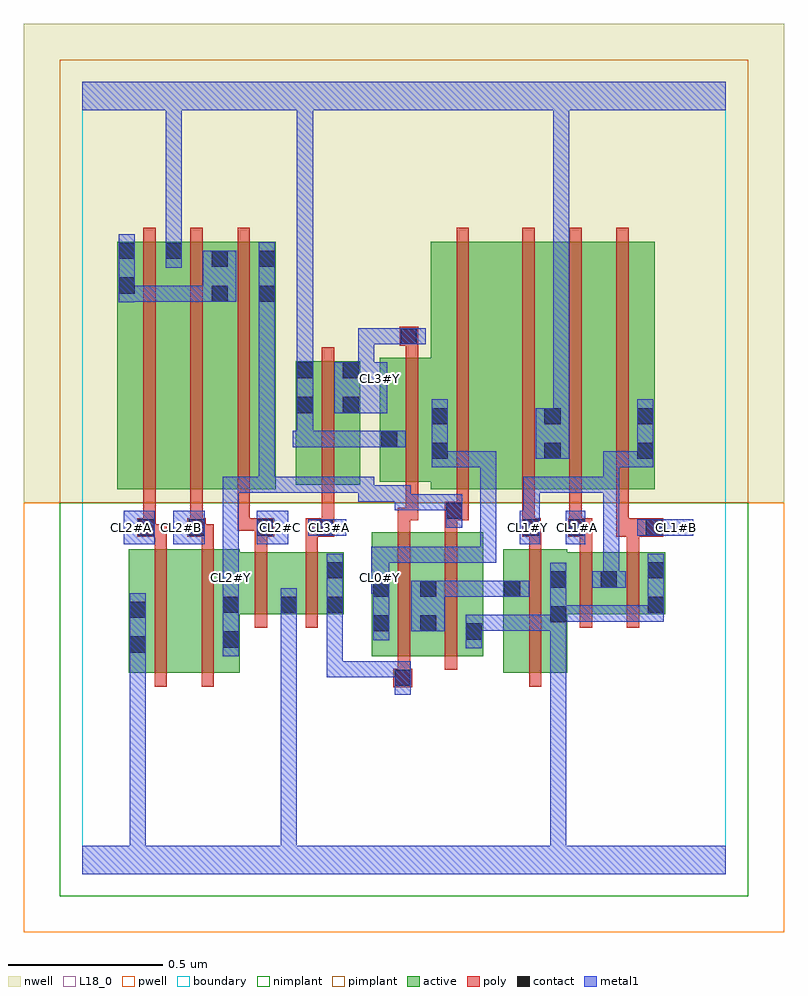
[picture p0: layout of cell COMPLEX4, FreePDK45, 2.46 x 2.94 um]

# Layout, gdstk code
import gdstk
lib = gdstk.Library(unit=1e-6, precision=1e-09)
def R(c, l, rs):  # rectangles x0, y0, x1, y1
    for r in rs: c.add(gdstk.rectangle(r[:2], r[2:], *l))
def A(c, l, x, y, w, h, nx, ny, dx, dy):  # array of equal rectangles
    R(c, l, [(x+i*dx, y+j*dy, x+i*dx+w, y+j*dy+h) for i in range(nx) for j in range(ny)])
active = (1, 0)
pwell = (2, 0)
nwell = (3, 0)
nimplant = (4, 0)
pimplant = (5, 0)
poly = (9, 0)
contact = (10, 0)
metal1 = (11, 0)
L18_0 = (18, 0)
boundary = (235, 0)

complex4 = lib.new_cell('COMPLEX4')
R(complex4, active, [(0.15,0.65,0.33,1.05), (0.33,0.65,0.51,1.05), (0.45,0.65,0.51,0.9), (1.36,0.65,1.568,1.05), (1.508,0.65,1.568,0.982), (0.936,0.704,1.148,1.104), (1.088,0.704,1.296,1.104), (0.15,0.712,0.21,1.05), (1.236,0.754,1.296,1.104), (0.936,0.756,0.996,1.104), (1.088,0.756,1.148,0.952), (1.36,0.756,1.42,1.05), (0.45,0.84,0.698,1.04), (0.638,0.84,0.698,0.9), (0.638,0.84,0.846,1.04), (0.786,0.84,0.846,1.04), (1.508,0.84,1.732,1.04), (1.672,0.84,1.884,1.04), (1.824,0.84,1.884,1.04), (1.672,0.922,1.732,0.982), (0.114,1.244,0.174,2.044), (0.114,1.244,0.326,2.044), (0.266,1.244,0.474,2.044), (0.414,1.244,0.626,2.044), (0.566,1.244,0.626,2.044), (1.126,1.244,1.366,2.044), (1.366,1.244,1.55,2.044), (1.49,1.244,1.55,2.044), (1.49,1.244,1.67,2.044), (1.67,1.244,1.85,2.044), (1.79,1.244,1.85,2.044), (0.69,1.258,0.898,1.658), (0.69,1.258,0.75,1.658), (0.838,1.258,0.898,1.658), (0.962,1.268,1.186,1.668), (0.962,1.268,1.022,1.644), (1.126,1.268,1.186,1.71), (0.266,1.686,0.326,2.044), (0.414,1.686,0.474,2.044)])
R(complex4, pwell, [(-0.188,-0.188,2.268,1.2)])
R(complex4, nwell, [(-0.188,1.2,2.268,2.748)])
R(complex4, nimplant, [(-0.072,-0.072,2.152,1.2)])
R(complex4, pimplant, [(-0.072,1.2,2.152,2.632)])
A(complex4, poly, 0.198, 1.11, 0.04, 0.13, 3, 1, 0.152, 0)
A(complex4, poly, 1.422, 1.11, 0.04, 0.13, 3, 1, 0.152, 0)
A(complex4, poly, 0.198, 1.2, 0.04, 0.888, 3, 1, 0.152, 0)
A(complex4, poly, 1.422, 1.2, 0.04, 0.888, 3, 1, 0.152, 0)
R(complex4, poly, [(1.006,0.604,1.066,0.664), (0.234,0.606,0.274,1.094), (0.386,0.606,0.426,1.094), (1.444,0.606,1.484,1.094), (1.02,0.624,1.06,0.7), (1.02,0.66,1.06,1.148), (1.172,0.66,1.212,1.148), (0.558,0.796,0.598,1.084), (0.722,0.796,0.762,1.084), (1.608,0.796,1.648,1.084), (1.76,0.796,1.8,1.084), (0.558,1.044,0.598,1.13), (0.722,1.044,0.762,1.13), (1.608,1.044,1.648,1.13), (1.76,1.044,1.8,1.13), (0.234,1.054,0.274,1.13), (0.386,1.054,0.426,1.13), (1.444,1.054,1.484,1.13), (0.178,1.09,0.238,1.15), (0.198,1.09,0.238,1.13), (0.198,1.09,0.274,1.13), (0.34,1.09,0.4,1.15), (0.36,1.09,0.4,1.13), (0.36,1.09,0.426,1.13), (0.558,1.09,0.62,1.15), (0.722,1.09,0.814,1.15), (1.422,1.09,1.482,1.15), (1.442,1.09,1.482,1.13), (1.442,1.09,1.484,1.13), (1.57,1.09,1.648,1.15), (1.726,1.09,1.878,1.15), (1.76,1.09,1.8,1.13), (1.76,1.09,1.8,1.13), (1.02,1.108,1.06,1.184), (1.172,1.108,1.212,1.184), (0.502,1.11,0.598,1.15), (0.558,1.11,0.598,1.15), (0.774,1.11,0.814,1.15), (0.774,1.11,0.814,1.15), (0.774,1.11,0.814,1.254), (1.574,1.11,1.614,1.15), (1.574,1.11,1.614,1.15), (1.02,1.144,1.06,1.184), (1.02,1.144,1.06,1.184), (1.02,1.144,1.086,1.184), (1.046,1.144,1.086,1.264), (1.172,1.144,1.212,1.184), (1.172,1.144,1.212,1.184), (1.172,1.144,1.25,1.204), (1.21,1.164,1.25,1.24), (1.21,1.2,1.25,2.088), (0.774,1.214,0.814,1.702), (1.046,1.224,1.086,1.712), (1.046,1.672,1.086,1.748), (1.026,1.708,1.086,1.768)])
R(complex4, contact, [(1.01,0.608,1.062,0.66), (0.154,0.716,0.206,0.768), (0.454,0.732,0.506,0.784), (1.24,0.758,1.292,0.81), (0.94,0.784,0.992,0.836), (1.092,0.784,1.144,0.836), (1.512,0.814,1.564,0.866), (0.154,0.828,0.206,0.88), (0.454,0.844,0.506,0.896), (0.642,0.844,0.694,0.896), (0.79,0.844,0.842,0.896), (1.828,0.844,1.88,0.896), (0.94,0.896,0.992,0.948), (1.092,0.896,1.144,0.948), (1.364,0.896,1.416,0.948), (1.512,0.926,1.564,0.978), (1.676,0.926,1.728,0.978), (0.79,0.956,0.842,1.008), (1.828,0.956,1.88,1.008), (0.182,1.094,0.234,1.146), (0.344,1.094,0.396,1.146), (0.564,1.094,0.616,1.146), (0.758,1.094,0.81,1.146), (1.426,1.094,1.478,1.146), (1.574,1.094,1.626,1.146), (1.822,1.094,1.874,1.146), (1.176,1.148,1.228,1.2), (1.13,1.342,1.182,1.394), (1.494,1.342,1.546,1.394), (1.794,1.342,1.846,1.394), (0.966,1.38,1.018,1.432), (1.13,1.454,1.182,1.506), (1.494,1.454,1.546,1.506), (1.794,1.454,1.846,1.506), (0.694,1.49,0.746,1.542), (0.842,1.49,0.894,1.542), (0.694,1.602,0.746,1.654), (0.842,1.602,0.894,1.654), (1.03,1.712,1.082,1.764), (0.418,1.85,0.47,1.902), (0.57,1.85,0.622,1.902), (0.118,1.876,0.17,1.928), (0.418,1.962,0.47,2.014), (0.57,1.962,0.622,2.014), (0.118,1.988,0.17,2.04), (0.27,1.988,0.322,2.04)])
R(complex4, metal1, [(0,0,2.08,0.092), (0.154,0.04,0.206,0.092), (0.154,0.04,0.206,0.092), (0.154,0.04,0.206,0.092), (0.154,0.04,0.206,0.092), (0.154,0.04,0.206,0.74), (0.642,0.04,0.694,0.092), (0.642,0.04,0.694,0.092), (0.642,0.04,0.694,0.092), (0.642,0.04,0.694,0.092), (0.642,0.04,0.694,0.092), (0.642,0.04,0.694,0.092), (0.642,0.04,0.694,0.092), (0.642,0.04,0.694,0.092), (0.642,0.04,0.694,0.092), (0.642,0.04,0.694,0.092), (0.642,0.04,0.694,0.092), (0.642,0.04,0.694,0.092), (0.642,0.04,0.694,0.092), (0.642,0.04,0.694,0.092), (0.642,0.04,0.694,0.092), (0.642,0.04,0.694,0.092), (0.642,0.04,0.694,0.868), (1.512,0.04,1.564,0.092), (1.512,0.04,1.564,0.092), (1.512,0.04,1.564,0.092), (1.512,0.04,1.564,0.092), (1.512,0.04,1.564,0.838), (1.01,0.58,1.062,0.688), (0.79,0.636,0.842,0.688), (0.79,0.636,1.006,0.688), (0.79,0.636,0.842,0.868), (0.954,0.636,1.006,0.688), (0.954,0.636,1.062,0.688), (0.154,0.688,0.206,0.74), (0.154,0.688,0.206,0.74), (0.154,0.688,0.206,0.74), (0.154,0.688,0.206,0.74), (0.154,0.688,0.206,0.74), (0.154,0.688,0.206,0.74), (0.154,0.688,0.206,0.74), (0.154,0.688,0.206,0.74), (0.154,0.688,0.206,0.908), (0.454,0.704,0.506,0.924), (1.24,0.73,1.292,0.838), (0.94,0.756,0.992,0.976), (1.064,0.784,1.172,0.948), (1.24,0.786,1.356,0.838), (1.304,0.786,1.356,0.838), (1.304,0.786,1.464,0.838), (1.412,0.786,1.464,0.838), (1.412,0.786,1.564,0.838), (1.512,0.786,1.564,0.838), (1.512,0.786,1.564,0.838), (1.512,0.786,1.564,0.838), (1.512,0.786,1.564,0.838), (1.512,0.786,1.564,0.838), (1.512,0.786,1.564,0.838), (1.512,0.786,1.564,0.838), (1.512,0.786,1.564,0.838), (1.512,0.786,1.564,1.006), (0.642,0.816,0.694,0.924), (0.79,0.816,0.842,0.868), (0.79,0.816,0.842,0.868), (0.79,0.816,0.842,0.868), (0.79,0.816,0.842,0.868), (0.79,0.816,0.842,1.036), (1.512,0.816,1.736,0.868), (1.684,0.816,1.736,0.868), (1.684,0.816,1.736,0.868), (1.684,0.816,1.736,0.868), (1.684,0.816,1.736,0.868), (1.684,0.816,1.736,0.868), (1.684,0.816,1.736,0.868), (1.684,0.816,1.736,0.868), (1.684,0.816,1.88,0.868), (1.828,0.816,1.88,0.868), (1.828,0.816,1.88,0.868), (1.828,0.816,1.88,1.036), (0.454,0.872,0.506,0.958), (1.12,0.896,1.172,0.948), (1.12,0.896,1.172,0.948), (1.12,0.896,1.354,0.948), (1.302,0.896,1.354,0.948), (1.302,0.896,1.388,0.948), (1.336,0.896,1.444,0.948), (0.454,0.906,0.506,1.014), (0.934,0.906,0.992,1.058), (0.94,0.906,0.992,0.958), (1.648,0.926,1.756,0.978), (1.684,0.926,1.736,1.284), (0.454,0.962,0.506,1.284), (0.94,1.006,1.054,1.058), (1.002,1.006,1.054,1.058), (1.002,1.006,1.182,1.058), (1.13,1.006,1.182,1.058), (1.13,1.006,1.182,1.058), (1.13,1.006,1.182,1.058), (1.13,1.006,1.338,1.058), (1.286,1.006,1.338,1.058), (1.286,1.006,1.338,1.366), (0.134,1.066,0.234,1.174), (0.294,1.066,0.396,1.174), (0.564,1.066,0.666,1.174), (1.414,1.066,1.478,1.174), (1.562,1.066,1.626,1.174), (0.73,1.094,0.854,1.146), (1.794,1.094,1.974,1.146), (1.176,1.12,1.228,1.228), (1.426,1.122,1.478,1.174), (1.426,1.122,1.478,1.284), (1.01,1.176,1.162,1.228), (1.01,1.176,1.062,1.256), (1.11,1.176,1.162,1.228), (1.11,1.176,1.228,1.228), (0.892,1.204,0.944,1.256), (0.892,1.204,0.944,1.256), (0.892,1.204,1.062,1.256), (0.892,1.204,0.944,1.284), (0.454,1.232,0.506,1.284), (0.454,1.232,0.506,1.284), (0.454,1.232,0.506,1.284), (0.454,1.232,0.622,1.284), (0.57,1.232,0.622,1.284), (0.57,1.232,0.622,1.284), (0.57,1.232,0.622,1.284), (0.57,1.232,0.834,1.284), (0.57,1.232,0.622,1.874), (0.782,1.232,0.834,1.284), (0.782,1.232,0.944,1.284), (1.426,1.232,1.736,1.284), (1.684,1.232,1.736,1.284), (1.684,1.232,1.736,1.284), (1.684,1.232,1.736,1.284), (1.684,1.232,1.736,1.284), (1.684,1.232,1.736,1.284), (1.684,1.232,1.736,1.366), (1.13,1.314,1.182,1.366), (1.13,1.314,1.182,1.366), (1.13,1.314,1.182,1.534), (1.13,1.314,1.338,1.366), (1.286,1.314,1.338,1.366), (1.286,1.314,1.338,1.366), (1.286,1.314,1.338,1.366), (1.684,1.314,1.736,1.366), (1.684,1.314,1.846,1.366), (1.794,1.314,1.846,1.366), (1.794,1.314,1.846,1.366), (1.794,1.314,1.846,1.534), (1.466,1.342,1.574,1.506), (0.68,1.38,0.732,1.432), (0.68,1.38,0.732,1.432), (0.68,1.38,0.732,1.432), (0.68,1.38,0.732,1.432), (0.68,1.38,0.732,1.432), (0.68,1.38,0.732,1.432), (0.68,1.38,0.944,1.432), (0.68,1.38,0.746,1.432), (0.694,1.38,0.746,1.514), (0.892,1.38,0.944,1.432), (0.892,1.38,0.99,1.432), (0.938,1.38,1.046,1.432), (1.522,1.454,1.574,1.506), (1.522,1.454,1.574,1.506), (1.522,1.454,1.574,2.52), (0.694,1.462,0.746,1.682), (0.814,1.49,0.986,1.654), (0.892,1.602,0.944,1.764), (0.694,1.63,0.746,2.52), (0.892,1.712,0.944,1.764), (0.892,1.712,0.944,1.764), (0.892,1.712,0.944,1.764), (0.892,1.712,1.054,1.764), (1.002,1.712,1.11,1.764), (0.57,1.822,0.622,2.042), (0.118,1.848,0.17,2.068), (0.118,1.85,0.17,1.902), (0.118,1.85,0.17,1.902), (0.118,1.85,0.28,1.902), (0.228,1.85,0.28,1.902), (0.228,1.85,0.28,1.902), (0.228,1.85,0.28,1.902), (0.228,1.85,0.442,1.902), (0.39,1.85,0.498,2.014), (0.27,1.96,0.322,2.068), (0.27,2.016,0.322,2.52), (0,2.468,2.08,2.56), (0.27,2.468,0.322,2.52), (0.27,2.468,0.322,2.52), (0.27,2.468,0.322,2.52), (0.27,2.468,0.322,2.52), (0.27,2.468,0.322,2.52), (0.27,2.468,0.322,2.52), (0.27,2.468,0.322,2.52), (0.27,2.468,0.322,2.52), (0.694,2.468,0.746,2.52), (0.694,2.468,0.746,2.52), (0.694,2.468,0.746,2.52), (0.694,2.468,0.746,2.52), (0.694,2.468,0.746,2.52), (0.694,2.468,0.746,2.52), (0.694,2.468,0.746,2.52), (0.694,2.468,0.746,2.52), (0.694,2.468,0.746,2.52), (0.694,2.468,0.746,2.52), (0.694,2.468,0.746,2.52), (0.694,2.468,0.746,2.52), (0.694,2.468,0.746,2.52), (0.694,2.468,0.746,2.52), (0.694,2.468,0.746,2.52), (0.694,2.468,0.746,2.52), (1.522,2.468,1.574,2.52), (1.522,2.468,1.574,2.52), (1.522,2.468,1.574,2.52), (1.522,2.468,1.574,2.52), (1.522,2.468,1.574,2.52), (1.522,2.468,1.574,2.52)])
R(complex4, L18_0, [(0,0,2.08,0.092), (0.154,0.04,0.206,0.092), (0.154,0.04,0.206,0.092), (0.154,0.04,0.206,0.092), (0.154,0.04,0.206,0.092), (0.154,0.04,0.206,0.74), (0.642,0.04,0.694,0.092), (0.642,0.04,0.694,0.092), (0.642,0.04,0.694,0.092), (0.642,0.04,0.694,0.092), (0.642,0.04,0.694,0.092), (0.642,0.04,0.694,0.092), (0.642,0.04,0.694,0.092), (0.642,0.04,0.694,0.092), (0.642,0.04,0.694,0.092), (0.642,0.04,0.694,0.092), (0.642,0.04,0.694,0.092), (0.642,0.04,0.694,0.092), (0.642,0.04,0.694,0.092), (0.642,0.04,0.694,0.092), (0.642,0.04,0.694,0.092), (0.642,0.04,0.694,0.092), (0.642,0.04,0.694,0.868), (1.512,0.04,1.564,0.092), (1.512,0.04,1.564,0.092), (1.512,0.04,1.564,0.092), (1.512,0.04,1.564,0.092), (1.512,0.04,1.564,0.838), (1.01,0.58,1.062,0.688), (0.79,0.636,0.842,0.688), (0.79,0.636,0.842,0.868), (0.79,0.636,1.006,0.688), (0.954,0.636,1.006,0.688), (0.954,0.636,1.062,0.688), (0.154,0.688,0.206,0.74), (0.154,0.688,0.206,0.74), (0.154,0.688,0.206,0.74), (0.154,0.688,0.206,0.74), (0.154,0.688,0.206,0.74), (0.154,0.688,0.206,0.74), (0.154,0.688,0.206,0.74), (0.154,0.688,0.206,0.74), (0.154,0.688,0.206,0.908), (0.454,0.704,0.506,0.924), (1.24,0.73,1.292,0.838), (0.94,0.756,0.992,0.976), (1.24,0.786,1.356,0.838), (1.304,0.786,1.356,0.838), (1.304,0.786,1.464,0.838), (1.412,0.786,1.464,0.838), (1.412,0.786,1.564,0.838), (1.512,0.786,1.564,0.838), (1.512,0.786,1.564,0.838), (1.512,0.786,1.564,0.838), (1.512,0.786,1.564,0.838), (1.512,0.786,1.564,0.838), (1.512,0.786,1.564,0.838), (1.512,0.786,1.564,0.838), (1.512,0.786,1.564,0.838), (1.512,0.786,1.564,1.006), (0.642,0.816,0.694,0.924), (0.79,0.816,0.842,0.868), (0.79,0.816,0.842,0.868), (0.79,0.816,0.842,0.868), (0.79,0.816,0.842,0.868), (0.79,0.816,0.842,1.036), (1.512,0.816,1.736,0.868), (1.684,0.816,1.736,0.868), (1.684,0.816,1.736,0.868), (1.684,0.816,1.736,0.868), (1.684,0.816,1.736,0.868), (1.684,0.816,1.736,0.868), (1.684,0.816,1.736,0.868), (1.684,0.816,1.736,0.868), (1.684,0.816,1.88,0.868), (1.828,0.816,1.88,0.868), (1.828,0.816,1.88,0.868), (1.828,0.816,1.88,1.036), (0.454,0.872,0.506,0.958), (0.454,0.906,0.506,1.014), (0.934,0.906,0.992,1.058), (0.94,0.906,0.992,0.958), (1.648,0.926,1.756,0.978), (1.684,0.926,1.736,1.284), (0.454,0.934,0.506,0.986), (0.934,0.934,0.986,0.986), (0.454,0.962,0.506,1.284), (0.94,1.006,1.054,1.058), (1.002,1.006,1.054,1.058), (1.002,1.006,1.182,1.058), (1.13,1.006,1.182,1.058), (1.13,1.006,1.182,1.058), (1.13,1.006,1.182,1.058), (1.13,1.006,1.338,1.058), (1.286,1.006,1.338,1.058), (1.286,1.006,1.338,1.366), (0.134,1.066,0.234,1.174), (0.294,1.066,0.396,1.174), (0.564,1.066,0.666,1.174), (1.414,1.066,1.478,1.174), (1.562,1.066,1.626,1.174), (0.134,1.094,0.186,1.146), (0.294,1.094,0.346,1.146), (0.614,1.094,0.666,1.146), (0.73,1.094,0.854,1.146), (0.774,1.094,0.826,1.146), (1.414,1.094,1.466,1.146), (1.574,1.094,1.626,1.146), (1.794,1.094,1.974,1.146), (1.894,1.094,1.946,1.146), (1.176,1.12,1.228,1.228), (1.426,1.122,1.478,1.174), (1.426,1.122,1.478,1.284), (1.01,1.176,1.062,1.256), (1.01,1.176,1.162,1.228), (1.11,1.176,1.162,1.228), (1.11,1.176,1.228,1.228), (0.892,1.204,0.944,1.256), (0.892,1.204,0.944,1.256), (0.892,1.204,0.944,1.284), (0.892,1.204,1.062,1.256), (0.454,1.232,0.506,1.284), (0.454,1.232,0.506,1.284), (0.454,1.232,0.506,1.284), (0.454,1.232,0.622,1.284), (0.57,1.232,0.622,1.284), (0.57,1.232,0.622,1.284), (0.57,1.232,0.622,1.284), (0.57,1.232,0.622,1.874), (0.57,1.232,0.834,1.284), (0.782,1.232,0.834,1.284), (0.782,1.232,0.944,1.284), (1.426,1.232,1.736,1.284), (1.684,1.232,1.736,1.284), (1.684,1.232,1.736,1.284), (1.684,1.232,1.736,1.284), (1.684,1.232,1.736,1.284), (1.684,1.232,1.736,1.284), (1.684,1.232,1.736,1.366), (1.13,1.314,1.182,1.366), (1.13,1.314,1.182,1.366), (1.13,1.314,1.182,1.534), (1.13,1.314,1.338,1.366), (1.286,1.314,1.338,1.366), (1.286,1.314,1.338,1.366), (1.286,1.314,1.338,1.366), (1.684,1.314,1.736,1.366), (1.684,1.314,1.846,1.366), (1.794,1.314,1.846,1.366), (1.794,1.314,1.846,1.366), (1.794,1.314,1.846,1.534), (1.466,1.342,1.574,1.506), (0.68,1.38,0.732,1.432), (0.68,1.38,0.732,1.432), (0.68,1.38,0.732,1.432), (0.68,1.38,0.732,1.432), (0.68,1.38,0.732,1.432), (0.68,1.38,0.732,1.432), (0.68,1.38,0.746,1.432), (0.68,1.38,0.944,1.432), (0.694,1.38,0.746,1.514), (0.892,1.38,0.944,1.432), (0.892,1.38,0.99,1.432), (0.938,1.38,1.046,1.432), (1.522,1.454,1.574,1.506), (1.522,1.454,1.574,1.506), (1.522,1.454,1.574,2.52), (0.694,1.462,0.746,1.682), (0.814,1.49,0.986,1.654), (0.934,1.574,0.986,1.626), (0.892,1.602,0.944,1.764), (0.694,1.63,0.746,2.52), (0.892,1.712,0.944,1.764), (0.892,1.712,0.944,1.764), (0.892,1.712,0.944,1.764), (0.892,1.712,1.054,1.764), (1.002,1.712,1.11,1.764), (0.57,1.822,0.622,2.042), (0.27,1.96,0.322,2.068), (0.27,2.016,0.322,2.52), (0,2.468,2.08,2.56), (0.27,2.468,0.322,2.52), (0.27,2.468,0.322,2.52), (0.27,2.468,0.322,2.52), (0.27,2.468,0.322,2.52), (0.27,2.468,0.322,2.52), (0.27,2.468,0.322,2.52), (0.27,2.468,0.322,2.52), (0.27,2.468,0.322,2.52), (0.694,2.468,0.746,2.52), (0.694,2.468,0.746,2.52), (0.694,2.468,0.746,2.52), (0.694,2.468,0.746,2.52), (0.694,2.468,0.746,2.52), (0.694,2.468,0.746,2.52), (0.694,2.468,0.746,2.52), (0.694,2.468,0.746,2.52), (0.694,2.468,0.746,2.52), (0.694,2.468,0.746,2.52), (0.694,2.468,0.746,2.52), (0.694,2.468,0.746,2.52), (0.694,2.468,0.746,2.52), (0.694,2.468,0.746,2.52), (0.694,2.468,0.746,2.52), (0.694,2.468,0.746,2.52), (1.522,2.468,1.574,2.52), (1.522,2.468,1.574,2.52), (1.522,2.468,1.574,2.52), (1.522,2.468,1.574,2.52), (1.522,2.468,1.574,2.52), (1.522,2.468,1.574,2.52)])
R(complex4, boundary, [(0,0,2.08,2.56)])
complex4.add(gdstk.Label('CL0#Y', (0.96,0.96), layer=11, texttype=0))
complex4.add(gdstk.Label('CL1#A', (1.6,1.12), layer=11, texttype=0))
complex4.add(gdstk.Label('CL1#B', (1.92,1.12), layer=11, texttype=0))
complex4.add(gdstk.Label('CL1#Y', (1.44,1.12), layer=11, texttype=0))
complex4.add(gdstk.Label('CL2#A', (0.16,1.12), layer=11, texttype=0))
complex4.add(gdstk.Label('CL2#B', (0.32,1.12), layer=11, texttype=0))
complex4.add(gdstk.Label('CL2#C', (0.64,1.12), layer=11, texttype=0))
complex4.add(gdstk.Label('CL2#Y', (0.48,0.96), layer=11, texttype=0))
complex4.add(gdstk.Label('CL3#A', (0.8,1.12), layer=11, texttype=0))
complex4.add(gdstk.Label('CL3#Y', (0.96,1.6), layer=11, texttype=0))

lib.write_gds('COMPLEX4.gds')
